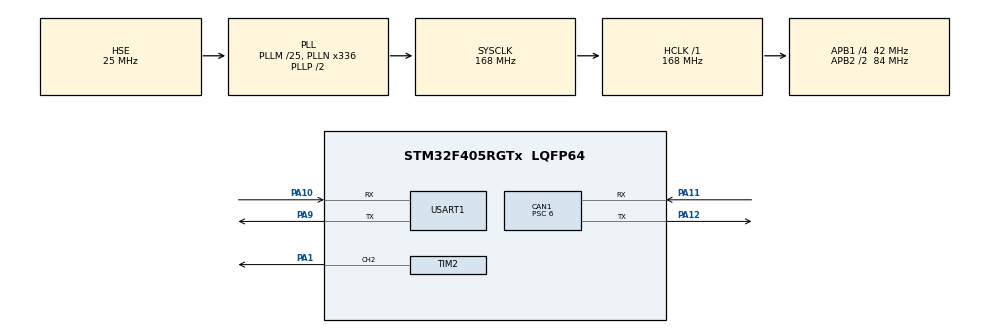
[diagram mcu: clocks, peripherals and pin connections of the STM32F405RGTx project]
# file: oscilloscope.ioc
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CAN1.BS1=CAN_BS1_4TQ
CAN1.BS2=CAN_BS2_2TQ
CAN1.CalculateBaudRate=1000000
CAN1.CalculateTimeBit=1000
CAN1.CalculateTimeQuantum=142.85714285714286
CAN1.Mode=CAN_MODE_NORMAL
CAN1.Prescaler=6
FREERTOS.Tasks01=defaultTask,0,128,StartDefaultTask,Default,NULL,Dynamic,NULL,NULL;can1,-3,128,StartTask02,Default,NULL,Dynamic,NULL,NULL;uart,-3,128,StartTask03,Default,NULL,Dynamic,NULL,NULL;pwm,-3,128,StartTask04,Default,NULL,Dynamic,NULL,NULL
Mcu.Family=STM32F4
Mcu.Name=STM32F405RGTx
Mcu.Package=LQFP64
NVIC.PriorityGroup=NVIC_PRIORITYGROUP_4
NVIC.TIM5_IRQn=true\:15\:0\:false\:false\:true\:false\:false\:true\:true
NVIC.TimeBase=TIM5_IRQn
NVIC.TimeBaseIP=TIM5
PA1.Signal=S_TIM2_CH2
PA10.Mode=Asynchronous
PA10.Signal=USART1_RX
PA11.Mode=CAN_Activate
PA11.Signal=CAN1_RX
PA12.Mode=CAN_Activate
PA12.Signal=CAN1_TX
PA13.Mode=Serial_Wire
PA13.Signal=SYS_JTMS-SWDIO
PA14.Mode=Serial_Wire
PA14.Signal=SYS_JTCK-SWCLK
PA9.Mode=Asynchronous
PA9.Signal=USART1_TX
PC14-OSC32_IN.Mode=LSE-External-Oscillator
PC14-OSC32_IN.Signal=RCC_OSC32_IN
PC15-OSC32_OUT.Mode=LSE-External-Oscillator
PC15-OSC32_OUT.Signal=RCC_OSC32_OUT
PH0-OSC_IN.Mode=HSE-External-Oscillator
PH0-OSC_IN.Signal=RCC_OSC_IN
PH1-OSC_OUT.Mode=HSE-External-Oscillator
PH1-OSC_OUT.Signal=RCC_OSC_OUT
ProjectManager.HeapSize=0x200
ProjectManager.StackSize=0x400
ProjectManager.TargetToolchain=MDK-ARM V5.32
RCC.48MHZClocksFreq_Value=84000000
RCC.AHBFreq_Value=168000000
RCC.APB1CLKDivider=RCC_HCLK_DIV4
RCC.APB1Freq_Value=42000000
RCC.APB1TimFreq_Value=84000000
RCC.APB2CLKDivider=RCC_HCLK_DIV2
RCC.APB2Freq_Value=84000000
RCC.APB2TimFreq_Value=168000000
RCC.CortexFreq_Value=168000000
RCC.HCLKFreq_Value=168000000
RCC.HSE_VALUE=25000000
RCC.HSI_VALUE=16000000
RCC.PLLM=25
RCC.PLLN=336
RCC.PLLSourceVirtual=RCC_PLLSOURCE_HSE
RCC.SYSCLKFreq_VALUE=168000000
RCC.SYSCLKSource=RCC_SYSCLKSOURCE_PLLCLK
RCC.VCOOutputFreq_Value=336000000
SH.S_TIM2_CH2.0=TIM2_CH2,PWM Generation2 CH2
TIM2.Channel-PWM\ Generation2\ CH2=TIM_CHANNEL_2
TIM2.Period=500
TIM2.Prescaler=300
USART1.VirtualMode=VM_ASYNC
VP_FREERTOS_VS_CMSIS_V1.Mode=CMSIS_V1
VP_SYS_VS_tim5.Mode=TIM5
VP_TIM2_VS_ClockSourceINT.Mode=Internal
board=custom

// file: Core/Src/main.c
/* USER CODE BEGIN Header */
/**
 ******************************************************************************
 * @file           : main.c
 * @brief          : Main program body
 ******************************************************************************
 * @attention
 *
 * Copyright (c) 2024 STMicroelectronics.
 * All rights reserved.
 *
 * This software is licensed under terms that can be found in the LICENSE file
 * in the root directory of this software component.
 * If no LICENSE file comes with this software, it is provided AS-IS.
 *
 ******************************************************************************
 */
/* USER CODE END Header */
#include "main.h"
#include "cmsis_os.h"

/* USER CODE BEGIN Includes */
#include "stdio.h"
/* USER CODE END Includes */

CAN_HandleTypeDef hcan1;

TIM_HandleTypeDef htim2;

UART_HandleTypeDef huart1;

osThreadId defaultTaskHandle;
osThreadId can1Handle;
osThreadId uartHandle;
osThreadId pwmHandle;

void SystemClock_Config(void);
static void MX_GPIO_Init(void);
static void MX_CAN1_Init(void);
static void MX_USART1_UART_Init(void);
static void MX_TIM2_Init(void);
void StartDefaultTask(void const * argument);
void StartTask02(void const * argument);
void StartTask03(void const * argument);
void StartTask04(void const * argument);

/* USER CODE BEGIN 0 */
void FilterInit(void)
{
  CAN_FilterTypeDef CAN_FilterInitStructure;
  CAN_FilterInitStructure.FilterActivation = ENABLE;
  CAN_FilterInitStructure.FilterBank = 0;
  CAN_FilterInitStructure.FilterFIFOAssignment = CAN_FILTER_FIFO0;
  CAN_FilterInitStructure.FilterIdHigh = 0x0000;
  CAN_FilterInitStructure.FilterIdLow = 0x0000;
  CAN_FilterInitStructure.FilterMaskIdHigh = 0x0000;
  CAN_FilterInitStructure.FilterMaskIdLow = 0x0000;
  CAN_FilterInitStructure.FilterMode = CAN_FILTERMODE_IDMASK;
  CAN_FilterInitStructure.FilterScale = CAN_FILTERSCALE_32BIT;
  CAN_FilterInitStructure.SlaveStartFilterBank = 0;
  HAL_CAN_ConfigFilter(&hcan1, &CAN_FilterInitStructure);

  if (HAL_CAN_ConfigFilter(&hcan1, &CAN_FilterInitStructure) != HAL_OK)
  {
    printf("CAN1 ConfigFilter Fail!!\r\n");
  }
  else
  {
    printf("CAN1 ConfigFilter SUCCESS!!\r\n");
  }
}

void CAN1_Transmit(uint32_t ID, uint8_t Length, uint8_t *Data)
{
  CAN_TxHeaderTypeDef TxMessage = {0};
  uint8_t Tx_Buffer[8] = {0};
  uint32_t box = 0;
  TxMessage.StdId = ID;
  TxMessage.ExtId = ID;
  TxMessage.IDE = CAN_ID_STD;
  TxMessage.RTR = CAN_RTR_DATA;
  TxMessage.DLC = Length;
  TxMessage.TransmitGlobalTime = DISABLE;
  for (uint8_t i = 0; i < Length; i++)
  {
    Tx_Buffer[i] = Data[i];
  }
  HAL_StatusTypeDef TransmitMailbox;
  TransmitMailbox = HAL_CAN_AddTxMessage(&hcan1, &TxMessage, Tx_Buffer, &box);
  if (TransmitMailbox != HAL_OK)
  {
    printf("Transmit Error!");
  }
  else
  {
    // printf("Transmit Success!\r\n");
  }
}

uint8_t CAN1_ReceiveFlag(void)
{
  if (HAL_CAN_GetRxFifoFillLevel(&hcan1, CAN_RX_FIFO0) != 0)
  {
    printf("CAN1 has some Message");
    return 1;
  }
  return 0;
}

void CAN1_Receive(uint32_t *ID, uint8_t *Length, uint8_t *Data)
{
  //		FilterInit();

  CAN_RxHeaderTypeDef rceStu = {0};
  if (CAN1_ReceiveFlag() != 0)
  {
    if (HAL_CAN_GetRxMessage(&hcan1, CAN_RX_FIFO0, &rceStu, Data) == HAL_OK)
    {
      printf("rceStu.DLC: %d\r\n", rceStu.DLC);
      printf("rceStu.ExtId: %d\r\n", rceStu.ExtId);
      printf("rceStu.StdId: %x\r\n", rceStu.StdId);
      printf("rceStu.Timestamp: %d\r\n", rceStu.Timestamp);
      for (uint8_t i = 0; i < rceStu.DLC; i++)
      {
        printf(" %x", Data[i]);
      }
      printf("\r\n");
    }
  }
  else
  {
    printf("No CAN1 INFO!\r\n");
  }
  osDelay(1000);
}

int fputc(int ch, FILE *f)
{
  HAL_UART_Transmit(&huart1, (uint8_t *)&ch, 1, HAL_MAX_DELAY);
  return ch;
}

int fgetc(FILE *f)
{
  uint8_t ch;
  HAL_UART_Receive(&huart1, (uint8_t *)&ch, 1, HAL_MAX_DELAY);
  return ch;
}
/* USER CODE END 0 */

int main(void)
{

  /* MCU Configuration--------------------------------------------------------*/

  /* Reset of all peripherals, Initializes the Flash interface and the Systick. */
  HAL_Init();

  /* Configure the system clock */
  SystemClock_Config();

  /* Initialize all configured peripherals */
  MX_GPIO_Init();
  MX_CAN1_Init();
  MX_USART1_UART_Init();
  MX_TIM2_Init();

  /* Create the thread(s) */
  /* definition and creation of defaultTask */
  osThreadDef(defaultTask, StartDefaultTask, osPriorityNormal, 0, 128);
  defaultTaskHandle = osThreadCreate(osThread(defaultTask), NULL);

  /* definition and creation of can1 */
  osThreadDef(can1, StartTask02, osPriorityIdle, 0, 128);
  can1Handle = osThreadCreate(osThread(can1), NULL);

  /* definition and creation of uart */
  osThreadDef(uart, StartTask03, osPriorityIdle, 0, 128);
  uartHandle = osThreadCreate(osThread(uart), NULL);

  /* definition and creation of pwm */
  osThreadDef(pwm, StartTask04, osPriorityIdle, 0, 128);
  pwmHandle = osThreadCreate(osThread(pwm), NULL);

  /* Start scheduler */
  osKernelStart();
  /* We should never get here as control is now taken by the scheduler */
  /* Infinite loop */
  while (1)
  {

  }
}

void SystemClock_Config(void)
{
  RCC_OscInitTypeDef RCC_OscInitStruct = {0};
  RCC_ClkInitTypeDef RCC_ClkInitStruct = {0};

  /** Configure the main internal regulator output voltage
  */
  __HAL_RCC_PWR_CLK_ENABLE();
  __HAL_PWR_VOLTAGESCALING_CONFIG(PWR_REGULATOR_VOLTAGE_SCALE1);

  /** Initializes the RCC Oscillators according to the specified parameters
  * in the RCC_OscInitTypeDef structure.
  */
  RCC_OscInitStruct.OscillatorType = RCC_OSCILLATORTYPE_HSE;
  RCC_OscInitStruct.HSEState = RCC_HSE_ON;
  RCC_OscInitStruct.PLL.PLLState = RCC_PLL_ON;
  RCC_OscInitStruct.PLL.PLLSource = RCC_PLLSOURCE_HSE;
  RCC_OscInitStruct.PLL.PLLM = 25;
  RCC_OscInitStruct.PLL.PLLN = 336;
  RCC_OscInitStruct.PLL.PLLP = RCC_PLLP_DIV2;
  RCC_OscInitStruct.PLL.PLLQ = 4;
  if (HAL_RCC_OscConfig(&RCC_OscInitStruct) != HAL_OK)
  {
    Error_Handler();
  }

  /** Initializes the CPU, AHB and APB buses clocks
  */
  RCC_ClkInitStruct.ClockType = RCC_CLOCKTYPE_HCLK|RCC_CLOCKTYPE_SYSCLK
                              |RCC_CLOCKTYPE_PCLK1|RCC_CLOCKTYPE_PCLK2;
  RCC_ClkInitStruct.SYSCLKSource = RCC_SYSCLKSOURCE_PLLCLK;
  RCC_ClkInitStruct.AHBCLKDivider = RCC_SYSCLK_DIV1;
  RCC_ClkInitStruct.APB1CLKDivider = RCC_HCLK_DIV4;
  RCC_ClkInitStruct.APB2CLKDivider = RCC_HCLK_DIV2;

  if (HAL_RCC_ClockConfig(&RCC_ClkInitStruct, FLASH_LATENCY_5) != HAL_OK)
  {
    Error_Handler();
  }
}

static void MX_CAN1_Init(void)
{

  hcan1.Instance = CAN1;
  hcan1.Init.Prescaler = 6;
  hcan1.Init.Mode = CAN_MODE_NORMAL;
  hcan1.Init.SyncJumpWidth = CAN_SJW_1TQ;
  hcan1.Init.TimeSeg1 = CAN_BS1_4TQ;
  hcan1.Init.TimeSeg2 = CAN_BS2_2TQ;
  hcan1.Init.TimeTriggeredMode = DISABLE;
  hcan1.Init.AutoBusOff = DISABLE;
  hcan1.Init.AutoWakeUp = DISABLE;
  hcan1.Init.AutoRetransmission = DISABLE;
  hcan1.Init.ReceiveFifoLocked = DISABLE;
  hcan1.Init.TransmitFifoPriority = DISABLE;
  if (HAL_CAN_Init(&hcan1) != HAL_OK)
  {
    Error_Handler();
  }

}

static void MX_TIM2_Init(void)
{

  TIM_ClockConfigTypeDef sClockSourceConfig = {0};
  TIM_MasterConfigTypeDef sMasterConfig = {0};
  TIM_OC_InitTypeDef sConfigOC = {0};

  htim2.Instance = TIM2;
  htim2.Init.Prescaler = 300;
  htim2.Init.CounterMode = TIM_COUNTERMODE_UP;
  htim2.Init.Period = 500;
  htim2.Init.ClockDivision = TIM_CLOCKDIVISION_DIV1;
  htim2.Init.AutoReloadPreload = TIM_AUTORELOAD_PRELOAD_DISABLE;
  if (HAL_TIM_Base_Init(&htim2) != HAL_OK)
  {
    Error_Handler();
  }
  sClockSourceConfig.ClockSource = TIM_CLOCKSOURCE_INTERNAL;
  if (HAL_TIM_ConfigClockSource(&htim2, &sClockSourceConfig) != HAL_OK)
  {
    Error_Handler();
  }
  if (HAL_TIM_PWM_Init(&htim2) != HAL_OK)
  {
    Error_Handler();
  }
  sMasterConfig.MasterOutputTrigger = TIM_TRGO_RESET;
  sMasterConfig.MasterSlaveMode = TIM_MASTERSLAVEMODE_DISABLE;
  if (HAL_TIMEx_MasterConfigSynchronization(&htim2, &sMasterConfig) != HAL_OK)
  {
    Error_Handler();
  }
  sConfigOC.OCMode = TIM_OCMODE_PWM1;
  sConfigOC.Pulse = 0;
  sConfigOC.OCPolarity = TIM_OCPOLARITY_HIGH;
  sConfigOC.OCFastMode = TIM_OCFAST_DISABLE;
  if (HAL_TIM_PWM_ConfigChannel(&htim2, &sConfigOC, TIM_CHANNEL_2) != HAL_OK)
  {
    Error_Handler();
  }
  HAL_TIM_MspPostInit(&htim2);

}

static void MX_USART1_UART_Init(void)
{

  huart1.Instance = USART1;
  huart1.Init.BaudRate = 115200;
  huart1.Init.WordLength = UART_WORDLENGTH_8B;
  huart1.Init.StopBits = UART_STOPBITS_1;
  huart1.Init.Parity = UART_PARITY_NONE;
  huart1.Init.Mode = UART_MODE_TX_RX;
  huart1.Init.HwFlowCtl = UART_HWCONTROL_NONE;
  huart1.Init.OverSampling = UART_OVERSAMPLING_16;
  if (HAL_UART_Init(&huart1) != HAL_OK)
  {
    Error_Handler();
  }

}

static void MX_GPIO_Init(void)
{

  /* GPIO Ports Clock Enable */
  __HAL_RCC_GPIOC_CLK_ENABLE();
  __HAL_RCC_GPIOH_CLK_ENABLE();
  __HAL_RCC_GPIOA_CLK_ENABLE();

}

void StartDefaultTask(void const * argument)
{
  for (;;)
  {
		osDelay(1);
  }
}

void StartTask02(void const * argument)
{
  /* USER CODE BEGIN StartTask02 */
  HAL_CAN_Start(&hcan1);

  FilterInit();

  uint32_t TxID = 0x1FF;
  uint8_t TxLength = 8;
  uint8_t TxData[8];

  TxData[0] = 0x30;
  TxData[1] = 0xE8;

  /* Infinite loop */

  for (;;)
  {
    CAN1_Transmit(TxID, TxLength, TxData);
    osDelay(5);
  }
  /* USER CODE END StartTask02 */
}

void StartTask03(void const * argument)
{
  /* USER CODE BEGIN StartTask03 */
uint8_t Buffer[10] = {88 , 76 , 89};

  /* Infinite loop */
  for (;;)
  {
    HAL_UART_Transmit(&huart1,Buffer,3,10);

    osDelay(1);
  }
  /* USER CODE END StartTask03 */
}

void StartTask04(void const * argument)
{
  /* USER CODE BEGIN StartTask04 */
  int16_t CCR;
  HAL_TIM_PWM_Start(&htim2,TIM_CHANNEL_2);
  /* Infinite loop */
  for(;;)
  {
    for(CCR = 0; CCR <= 500; CCR+=1)
	 {
		__HAL_TIM_SET_COMPARE(&htim2,TIM_CHANNEL_2,CCR);
		osDelay(3);
	 }
	 for(CCR = 500; CCR > 0; CCR-=1)
	 {
		__HAL_TIM_SET_COMPARE(&htim2 ,TIM_CHANNEL_2,CCR);
		  osDelay(3);
   }
	 osDelay(1);
  }
  /* USER CODE END StartTask04 */
}

void HAL_TIM_PeriodElapsedCallback(TIM_HandleTypeDef *htim)
{
  if (htim->Instance == TIM5) {
    HAL_IncTick();
  }
}

void Error_Handler(void)
{
  __disable_irq();
  while (1)
  {
  }
}
